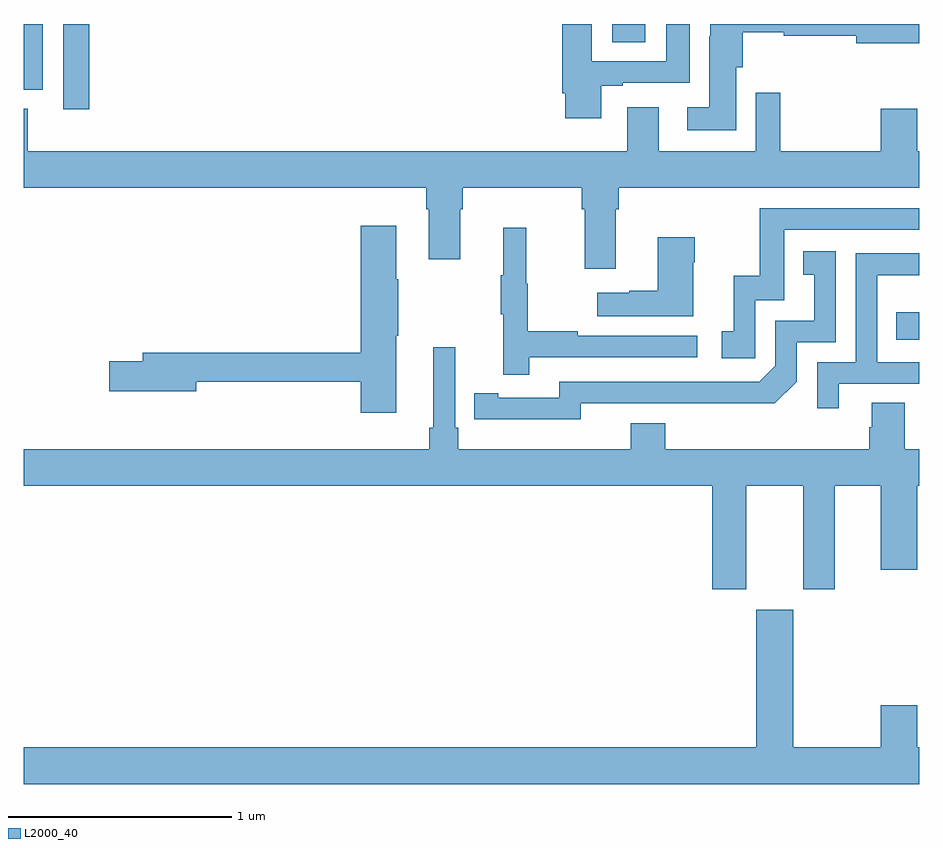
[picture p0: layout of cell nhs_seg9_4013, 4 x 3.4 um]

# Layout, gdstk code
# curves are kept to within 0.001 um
import gdstk
lib = gdstk.Library(unit=1e-6, precision=1e-09)
def R(c, l, rs):  # rectangles x0, y0, x1, y1
    for r in rs: c.add(gdstk.rectangle(r[:2], r[2:], *l))
def P(c, l, *ps):  # polygons
    for p in ps: c.add(gdstk.Polygon(p, *l))
L2000_40 = (2000, 40)

nhs_seg9_4013 = lib.new_cell('nhs_seg9_4013')
R(nhs_seg9_4013, L2000_40, [(344.899,1181.088,345,1181.211), (341.175,1182.12,341.291,1182.5), (341,1182.206,341.085,1182.5), (343.628,1182.418,343.777,1182.5)])
P(nhs_seg9_4013, L2000_40, [(343.579,1182.225),(343.675,1182.225),(343.675,1182.237),(343.975,1182.237),(343.975,1182.5),(343.871,1182.5),(343.871,1182.333),(343.537,1182.333),(343.537,1182.5),(343.406,1182.5),(343.406,1182.19),(343.418,1182.19),(343.418,1182.078),(343.579,1182.078)],
  [(344.182,1182.306),(344.213,1182.306),(344.213,1182.463),(344.396,1182.463),(344.396,1182.448),(344.72,1182.448),(344.72,1182.413),(345,1182.413),(345,1182.5),(344.067,1182.5),(344.067,1182.446),(344.063,1182.446),(344.063,1182.127),(343.965,1182.127),(343.965,1182.026),(344.182,1182.026)],
  [(343.645,1181.672),(343.658,1181.672),(343.658,1181.768),(345,1181.768),(345,1181.932),(344.992,1181.932),(344.992,1182.121),(344.828,1182.121),(344.828,1181.932),(344.38,1181.932),(344.38,1182.193),(344.271,1182.193),(344.271,1181.932),(343.837,1181.932),(343.837,1182.127),(343.697,1182.127),(343.697,1181.932),(341.017,1181.932),(341.017,1182.121),(341,1182.121),(341,1181.768),(342.797,1181.768),(342.797,1181.672),(342.809,1181.672),(342.809,1181.448),(342.949,1181.448),(342.949,1181.672),(342.962,1181.672),(342.962,1181.768),(343.493,1181.768),(343.493,1181.672),(343.505,1181.672),(343.505,1181.406),(343.645,1181.406)],
  [(344.268,1181.265),(344.397,1181.265),(344.397,1181.58),(345,1181.58),(345,1181.676),(344.289,1181.676),(344.289,1181.374),(344.171,1181.374),(344.171,1181.127),(344.118,1181.127),(344.118,1181.007),(344.268,1181.007)],
  [(342.664,1181.107),(342.672,1181.107),(342.672,1181.36),(342.664,1181.36),(342.664,1181.599),(342.506,1181.599),(342.506,1181.03),(341.531,1181.03),(341.531,1180.994),(341.382,1180.994),(341.382,1180.859),(341.77,1180.859),(341.77,1180.902),(342.506,1180.902),(342.506,1180.764),(342.664,1180.764)],
  [(343.259,1181.01),(344.008,1181.01),(344.008,1181.106),(343.475,1181.106),(343.475,1181.126),(343.252,1181.126),(343.252,1181.34),(343.244,1181.34),(343.244,1181.59),(343.142,1181.59),(343.142,1181.377),(343.131,1181.377),(343.131,1181.203),(343.142,1181.203),(343.142,1180.932),(343.259,1180.932)],
  [(343.99,1181.435),(343.998,1181.435),(343.998,1181.548),(343.832,1181.548),(343.832,1181.309),(343.706,1181.309),(343.706,1181.299),(343.563,1181.299),(343.563,1181.195),(343.99,1181.195)],
  [(343.488,1180.806),(344.356,1180.805),(344.454,1180.902),(344.454,1181.079),(344.628,1181.079),(344.628,1181.485),(344.482,1181.485),(344.482,1181.379),(344.531,1181.379),(344.531,1181.175),(344.358,1181.175),(344.358,1180.974),(344.286,1180.902),(343.392,1180.902),(343.392,1180.83),(343.12,1180.83),(343.12,1180.85),(343.012,1180.85),(343.012,1180.734),(343.488,1180.733)],
  [(344.641,1180.893),(345,1180.893),(345,1180.989),(344.814,1180.989),(344.814,1181.378),(345,1181.378),(345,1181.475),(344.718,1181.475),(344.718,1180.989),(344.544,1180.989),(344.544,1180.782),(344.641,1180.782)],
  [(344.227,1180.436),(344.483,1180.436),(344.483,1179.975),(344.623,1179.975),(344.623,1180.436),(344.828,1180.436),(344.828,1180.062),(344.992,1180.062),(344.992,1180.436),(345,1180.436),(345,1180.6),(344.937,1180.6),(344.937,1180.808),(344.789,1180.808),(344.789,1180.698),(344.777,1180.698),(344.777,1180.6),(343.865,1180.6),(343.865,1180.717),(343.712,1180.717),(343.712,1180.6),(342.941,1180.6),(342.941,1180.696),(342.927,1180.696),(342.927,1181.056),(342.83,1181.056),(342.83,1180.696),(342.811,1180.696),(342.811,1180.6),(341,1180.6),(341,1180.436),(344.075,1180.436),(344.075,1179.975),(344.227,1179.975)],
  [(345,1179.268),(344.992,1179.268),(344.992,1179.457),(344.828,1179.457),(344.828,1179.268),(344.437,1179.268),(344.437,1179.883),(344.273,1179.883),(344.273,1179.268),(341,1179.268),(341,1179.104),(345,1179.104)])

lib.write_gds('nhs_seg9_4013.gds')
